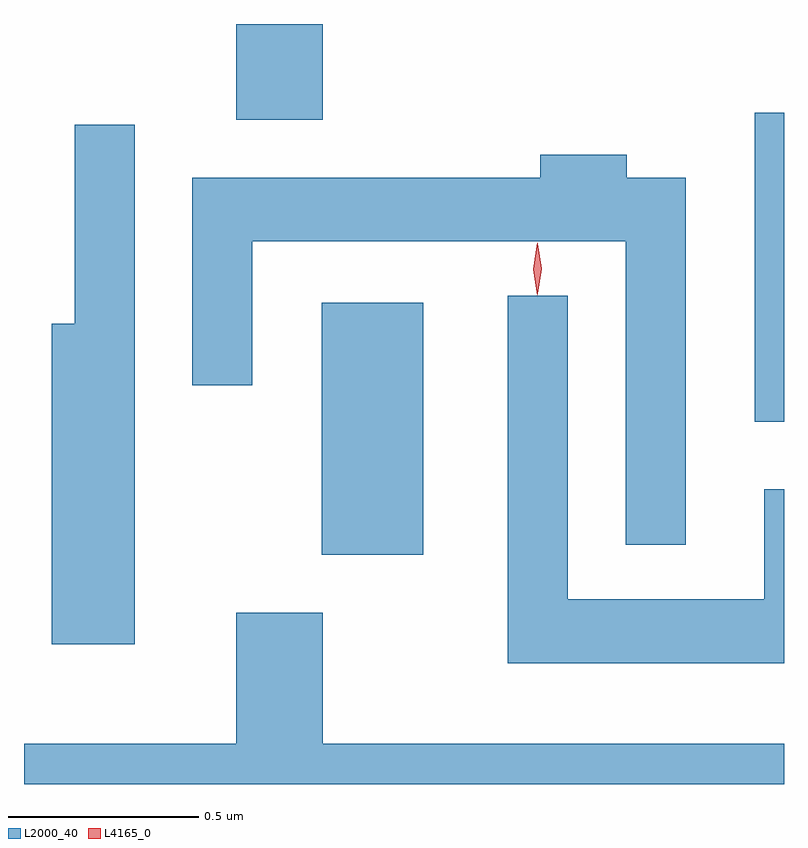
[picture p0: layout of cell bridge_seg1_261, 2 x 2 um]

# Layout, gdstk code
import gdstk
lib = gdstk.Library(unit=1e-6, precision=1e-09)
def R(c, l, rs):  # rectangles x0, y0, x1, y1
    for r in rs: c.add(gdstk.rectangle(r[:2], r[2:], *l))
def P(c, l, *ps):  # polygons
    for p in ps: c.add(gdstk.Polygon(p, *l))
L2000_40 = (2000, 40)
L4165_0 = (4165, 0)

bridge_seg1_261 = lib.new_cell('bridge_seg1_261')
R(bridge_seg1_261, L2000_40, [(955.636,893.681,955.904,894.344), (956.776,894.031,956.853,894.844), (955.411,894.826,955.639,895.078)])
P(bridge_seg1_261, L2000_40, [(955.144,894.813),(954.986,894.813),(954.986,894.289),(954.926,894.289),(954.926,893.446),(955.144,893.446)],
  [(956.594,894.674),(956.439,894.674),(956.439,894.734),(956.211,894.734),(956.211,894.674),(955.296,894.674),(955.296,894.128),(955.454,894.128),(955.454,894.506),(956.436,894.506),(956.436,893.708),(956.594,893.708)],
  [(956.853,893.854),(956.801,893.854),(956.801,893.564),(956.284,893.564),(956.284,894.363),(956.126,894.363),(956.126,893.396),(956.853,893.396)],
  [(956.853,893.184),(955.639,893.184),(955.639,893.529),(955.411,893.529),(955.411,893.184),(954.853,893.184),(954.853,893.078),(956.853,893.078)])
P(bridge_seg1_261, L4165_0, [(956.203,894.364),(956.203,894.364),(956.193,894.433),(956.203,894.502),(956.203,894.503),(956.204,894.502),(956.213,894.433),(956.204,894.364)],
  [(956.205,894.367),(956.204,894.368),(956.195,894.434),(956.204,894.5),(956.205,894.501),(956.205,894.5),(956.215,894.434),(956.205,894.368)])

lib.write_gds('bridge_seg1_261.gds')
